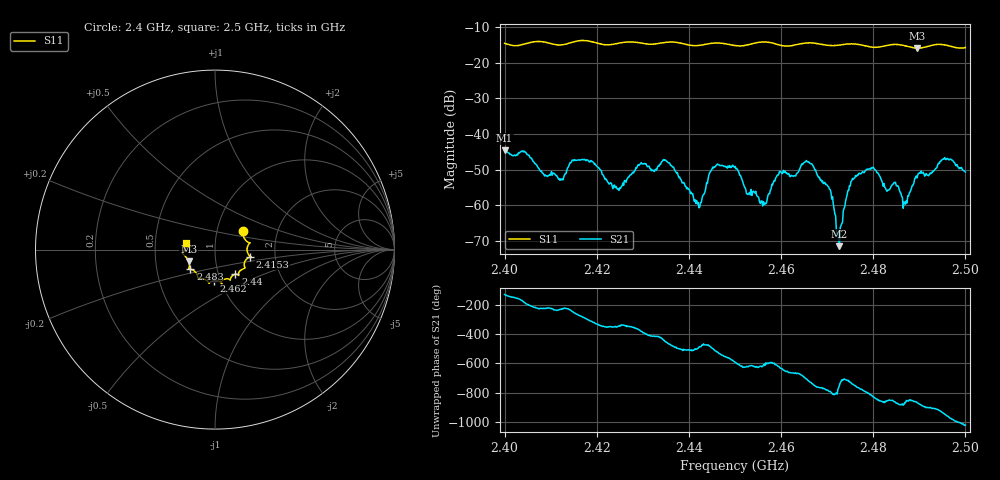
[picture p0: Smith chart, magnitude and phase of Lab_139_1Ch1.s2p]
# Hz S RI R 50
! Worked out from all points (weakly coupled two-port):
!   601 points, 2.4 GHz to 2.5 GHz, reference 50 ohm
!   highest |S21| = -44.62 dB at 2.4 GHz (marker M1); lowest = -71.5 dB at 2.4727 GHz (marker M2)
!   lowest |S11| = -15.9 dB at 2.4895 GHz (marker M3), VSWR 1.38, Z = 36.9 - j5.01 ohm
!   |S11| at or under -10 dB: start of sweep to end of sweep
!   S12 and S22 are empty: the file has one direction only
!   S11 on the Smith chart (normalised r, x): 2.4 GHz: 1.33, +0.29; 2.4153 GHz: 1.48, -0.12; 2.44 GHz: 1.20, -0.34; 2.462 GHz: 0.93, -0.33; 2.483 GHz: 0.74, -0.17; 2.5 GHz: 0.72, +0.06
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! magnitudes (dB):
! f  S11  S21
! 2.4 GHz  -14.5  -44.6
! 2.4122 GHz  -15.0  -52.6
! 2.4153 GHz  -14.0  -47.3
! 2.4167 GHz  -13.7  -47.3
! 2.4247 GHz  -14.5  -55.4
! 2.4333 GHz  -14.6  -49.0
! 2.44 GHz  -15.0  -55.4
! 2.4423 GHz  -15.1  -60.6
! 2.4453 GHz  -14.4  -49.6
! 2.45 GHz  -15.1  -49.1
! 2.4563 GHz  -14.1  -59.8
! 2.462 GHz  -15.2  -52.0
! 2.4667 GHz  -14.4  -48.4
! 2.4707 GHz  -15.1  -55.6
! 2.4727 GHz  -15.0  -71.5
! 2.476 GHz  -14.7  -52.3
! 2.48 GHz  -15.6  -49.3
! 2.483 GHz  -15.1  -56.1
! 2.4833 GHz  -15.0  -55.8
! 2.487 GHz  -15.2  -59.7
! 2.4895 GHz  -15.9  -52.3
! 2.5 GHz  -15.7  -50.7
